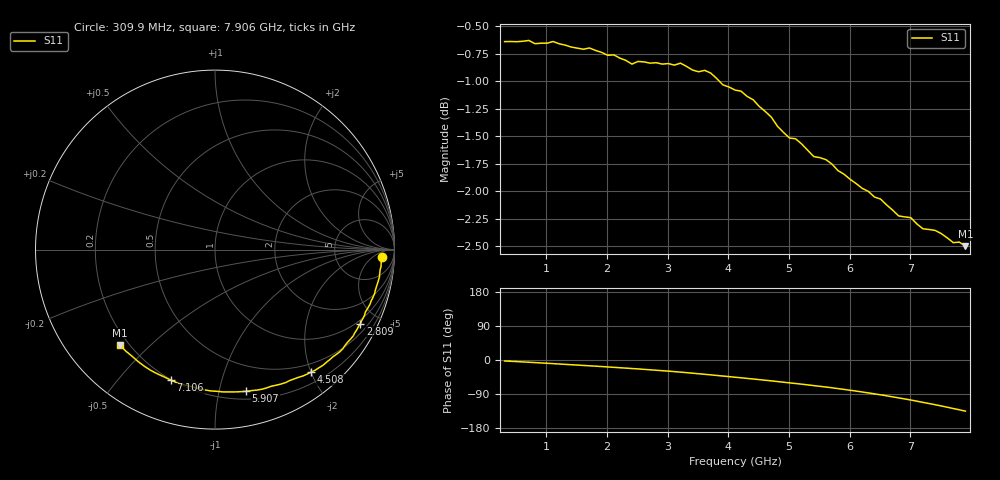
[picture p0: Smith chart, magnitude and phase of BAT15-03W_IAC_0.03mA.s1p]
! Infineon Technologies  Discrete & RF Semiconductors
! BAT15-03W-E6327
! IAC = 0.03 mA
! One-Port S-Parameters
# Hz  S  MA  R  50
!f  S11
!Hz  Mag  Ang
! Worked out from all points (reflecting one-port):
!   77 points, 309.9 MHz to 7.906 GHz, reference 50 ohm
!   lowest |S11| = -2.5 dB at 7.906 GHz (marker M1), VSWR 6.99, Z = 8.35 - j20.3 ohm
!   phase of S11 starts at -3 deg and turns -132 deg over the sweep
!   S11 on the Smith chart (normalised r, x): 309.9 MHz: 20, -12; 2.809 GHz: 0.85, -4.00; 4.508 GHz: 0.36, -2.01; 5.907 GHz: 0.27, -1.21; 7.106 GHz: 0.20, -0.70; 7.906 GHz: 0.17, -0.41
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3.0985e8  0.9288 -2.6
7.0965e8  0.9299 -5.9
8.096e8  0.9268 -6.8
1.10945e9  0.9289 -9.6
1.30935e9  0.9254 -11.5
1.70915e9  0.9226 -15.3
2.2089e9  0.9129 -20.4
2.4088e9  0.9072 -22.5
2.50875e9  0.9097 -23.5
2.8086e9  0.9085 -27.0
3.2084e9  0.9081 -32.0
3.70815e9  0.8987 -39.2
4.10795e9  0.8829 -45.4
4.2079e9  0.8819 -47.0
4.50775e9  0.8679 -51.8
5.10745e9  0.839 -62.0
5.6072e9  0.8209 -71.3
5.90705e9  0.8084 -77.6
6.007e9  0.8041 -79.9
6.30685e9  0.794 -86.9
6.50675e9  0.7877 -91.8
6.8066e9  0.7739 -100.0
7.0065e9  0.7725 -105.6
7.10645e9  0.7675 -108.7
7.4063e9  0.7623 -117.9
7.50625e9  0.7598 -121.2
7.8061e9  0.753 -131.4
7.90605e9  0.7498 -134.9
